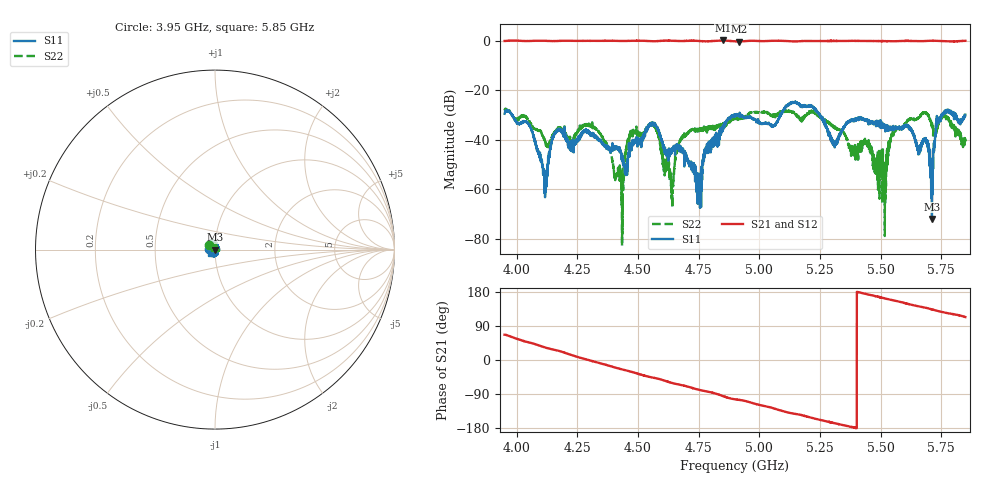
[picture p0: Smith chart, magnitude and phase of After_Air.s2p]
# GHZ S RI R 50.000000000000
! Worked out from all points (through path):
!   4501 points, 3.95 GHz to 5.85 GHz, reference 50 ohm
!   highest |S21| = 0.03 dB at 4.851 GHz (marker M1); lowest = -0.4 dB at 4.918 GHz (marker M2)
!   group delay of S21, straight-line fit = 453 ps
!   lowest |S11| = -72.0 dB at 5.712 GHz (marker M3), VSWR 1.00, Z = 50 - j0.0249 ohm
!   |S11| at or under -10 dB: start of sweep to end of sweep
!   |S22| runs from -83.0 to -27.6 dB; largest |S21 - S12| = 0.042
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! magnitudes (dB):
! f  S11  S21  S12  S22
! 3.95 GHz  -29.6  -0.2  -0.2  -28.2
! 4.05 GHz  -34.0  -0.2  -0.2  -32.4
! 4.117 GHz  -62.2  -0.1  -0.1  -40.7
! 4.163 GHz  -36.4  -0.2  -0.2  -36.0
! 4.267 GHz  -37.6  -0.1  -0.1  -34.7
! 4.432 GHz  -46.7  -0.2  -0.2  -60.2
! 4.473 GHz  -44.3  -0.1  -0.1  -36.9
! 4.584 GHz  -36.3  -0.2  -0.2  -38.6
! 4.639 GHz  -45.2  -0.1  -0.1  -63.9
! 4.675 GHz  -43.5  -0.2  -0.2  -40.2
! 4.751 GHz  -59.6  -0.2  -0.2  -36.3
! 4.851 GHz  -34.3  0.0  0.0  -33.9
! 4.9 GHz  -30.8  -0.3  -0.3  -31.5
! 4.918 GHz  -30.7  -0.4  -0.4  -30.6
! 5.217 GHz  -26.4  -0.2  -0.2  -28.5
! 5.311 GHz  -41.7  -0.1  -0.2  -35.2
! 5.515 GHz  -34.5  -0.2  -0.2  -57.2
! 5.534 GHz  -35.3  -0.2  -0.2  -41.4
! 5.686 GHz  -40.7  -0.2  -0.2  -29.3
! 5.712 GHz  -72.0  -0.1  -0.1  -33.6
! 5.738 GHz  -31.4  -0.2  -0.2  -33.5
! 5.85 GHz  -29.9  -0.1  -0.1  -40.0
